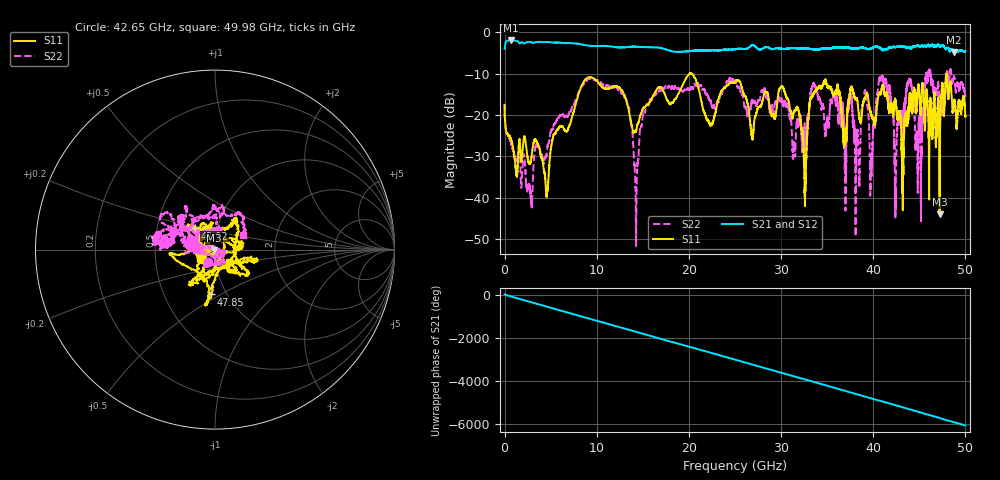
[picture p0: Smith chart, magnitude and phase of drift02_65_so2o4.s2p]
!Created with skrf (http://scikit-rf.org).
# Hz S RI R 50.0
!freq ReS11 ImS11 ReS21 ImS21 ReS12 ImS12 ReS22 ImS22
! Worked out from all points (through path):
!   10001 points, 300 kHz to 50 GHz, reference 50 ohm
!   highest |S21| = -1.99 dB at 645.3 MHz (marker M1); lowest = -4.9 dB at 48.76 GHz (marker M2)
!   group delay of S21, straight-line fit = 337 ps
!   lowest |S11| = -44.0 dB at 47.2 GHz (marker M3), VSWR 1.01, Z = 49.4 - j0.292 ohm
!   |S11| at or under -10 dB: start of sweep to 20.06 GHz; 20.24 GHz to 47.95 GHz (27.71 GHz wide, 81.3 % of centre); 47.96 GHz to end of sweep (the widest 3 of 5)
!   |S22| runs from -51.7 to -8.8 dB; largest |S21 - S12| = 0.032
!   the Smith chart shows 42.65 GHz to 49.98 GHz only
!   S11 on the Smith chart (normalised r, x): 42.65 GHz: 0.86, -0.09; 43.92 GHz: 0.78, +0.19; 47.85 GHz: 0.85, -0.45; 49.98 GHz: 1.15, -0.16
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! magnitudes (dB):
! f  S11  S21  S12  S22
! 300 kHz  -17.7  -4.0  -4.0  -17.3
! 645.3 MHz  -25.6  -2.0  -2.0  -26.4
! 4.565 GHz  -39.8  -2.4  -2.4  -29.4
! 8.335 GHz  -13.0  -2.9  -2.9  -13.2
! 13.01 GHz  -15.3  -3.6  -3.6  -15.7
! 14.28 GHz  -23.8  -3.5  -3.5  -48.8
! 16.67 GHz  -13.3  -3.7  -3.7  -14.5
! 25 GHz  -12.1  -4.1  -4.1  -12.1
! 30.19 GHz  -13.3  -4.1  -4.1  -17.1
! 32.57 GHz  -38.0  -3.9  -3.9  -25.4
! 33.34 GHz  -15.7  -4.0  -4.0  -13.7
! 38.3 GHz  -16.9  -3.9  -3.9  -24.4
! 41.67 GHz  -18.3  -3.8  -3.9  -12.8
! 42.65 GHz  -21.3  -3.5  -3.5  -22.0
! 43.92 GHz  -15.9  -3.5  -3.6  -11.8
! 44.99 GHz  -14.7  -3.4  -3.3  -20.4
! 45.92 GHz  -18.4  -3.2  -3.1  -10.8
! 47.2 GHz  -44.0  -3.4  -3.4  -16.8
! 47.85 GHz  -12.0  -4.0  -4.0  -14.1
! 48.76 GHz  -16.8  -4.9  -4.8  -10.6
! 49.98 GHz  -19.8  -4.6  -4.6  -15.1
! 50 GHz  -20.4  -4.6  -4.6  -15.4
